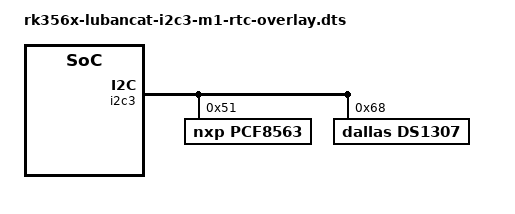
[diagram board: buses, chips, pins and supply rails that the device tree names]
/dts-v1/;
/plugin/;

/ {
	fragment@0 {
		target = <&i2c3>;

		__overlay__ {
			status = "okay";
			pinctrl-names = "default";
			pinctrl-0 = <&i2c3m1_xfer>;
			#address-cells = <1>;
			#size-cells = <0>;

			pcf8563: pcf8563@51 {
				compatible = "nxp,pcf8563";
				reg = <0x51>;
			};

			ds1307: ds1307@68 {
				compatible = "dallas,ds1307";
				reg = <0x68>;
			};
		};
	};

	fragment@1 {
		target = <&rk809>;

		__overlay__ {
			rtc {
				status = "disabled";
			};
		};
	};
};
